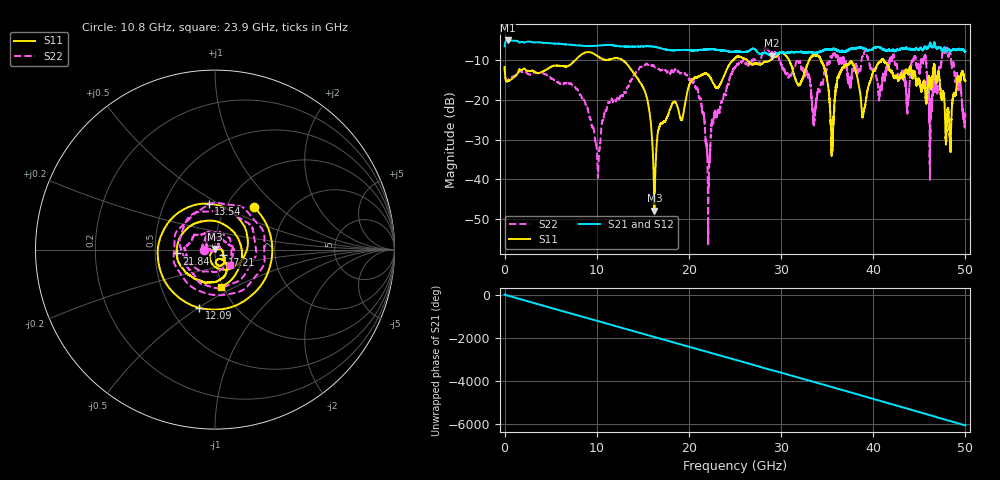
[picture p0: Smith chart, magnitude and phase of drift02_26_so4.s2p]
!Created with skrf (http://scikit-rf.org).
# Hz S RI R 50.0
!freq ReS11 ImS11 ReS21 ImS21 ReS12 ImS12 ReS22 ImS22
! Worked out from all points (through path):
!   10001 points, 300 kHz to 50 GHz, reference 50 ohm
!   highest |S21| = -5.04 dB at 325.3 MHz (marker M1); lowest = -8.9 dB at 28.98 GHz (marker M2)
!   group delay of S21, straight-line fit = 336 ps
!   lowest |S11| = -47.9 dB at 16.25 GHz (marker M3), VSWR 1.01, Z = 49.8 + j0.341 ohm
!   |S11| at or under -10 dB: start of sweep to 7.668 GHz; 12.81 GHz to 24.78 GHz (11.96 GHz wide, 63.7 % of centre); 41.13 GHz to end of sweep (the widest 3 of 14)
!   |S22| runs from -56.8 to -6.8 dB; largest |S21 - S12| = 0.031
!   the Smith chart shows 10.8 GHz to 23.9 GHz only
!   S11 on the Smith chart (normalised r, x): 10.8 GHz: 1.35, +0.71; 12.09 GHz: 0.69, -0.50; 13.54 GHz: 0.82, +0.45; 17.21 GHz: 1.09, -0.07; 21.84 GHz: 0.65, -0.03; 23.9 GHz: 0.97, -0.43
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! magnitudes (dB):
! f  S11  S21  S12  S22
! 300 kHz  -11.7  -6.5  -6.5  -11.7
! 325.3 MHz  -15.4  -5.0  -5.0  -15.1
! 8.335 GHz  -8.6  -6.4  -6.4  -19.1
! 10.1 GHz  -9.0  -6.3  -6.3  -38.2
! 10.8 GHz  -9.9  -6.2  -6.2  -23.9
! 12.09 GHz  -9.5  -6.4  -6.4  -20.3
! 13.54 GHz  -11.7  -6.6  -6.6  -16.0
! 16.25 GHz  -47.9  -6.6  -6.6  -11.7
! 16.67 GHz  -27.7  -6.8  -6.8  -12.2
! 17.21 GHz  -25.5  -7.2  -7.2  -12.8
! 21.84 GHz  -13.3  -7.3  -7.3  -30.9
! 23.9 GHz  -13.5  -7.6  -7.6  -18.6
! 25 GHz  -9.6  -7.9  -7.9  -11.9
! 28.98 GHz  -9.8  -8.9  -8.9  -8.1
! 33.34 GHz  -9.1  -8.0  -8.0  -19.9
! 35.53 GHz  -32.5  -7.4  -7.3  -9.1
! 36.81 GHz  -11.8  -7.9  -7.9  -9.6
! 41.67 GHz  -12.0  -7.4  -7.5  -11.8
! 45.52 GHz  -15.5  -6.9  -6.9  -9.6
! 46.25 GHz  -17.3  -6.1  -6.1  -22.5
! 48.14 GHz  -22.1  -7.2  -7.1  -9.1
! 50 GHz  -15.2  -7.9  -7.9  -23.4
